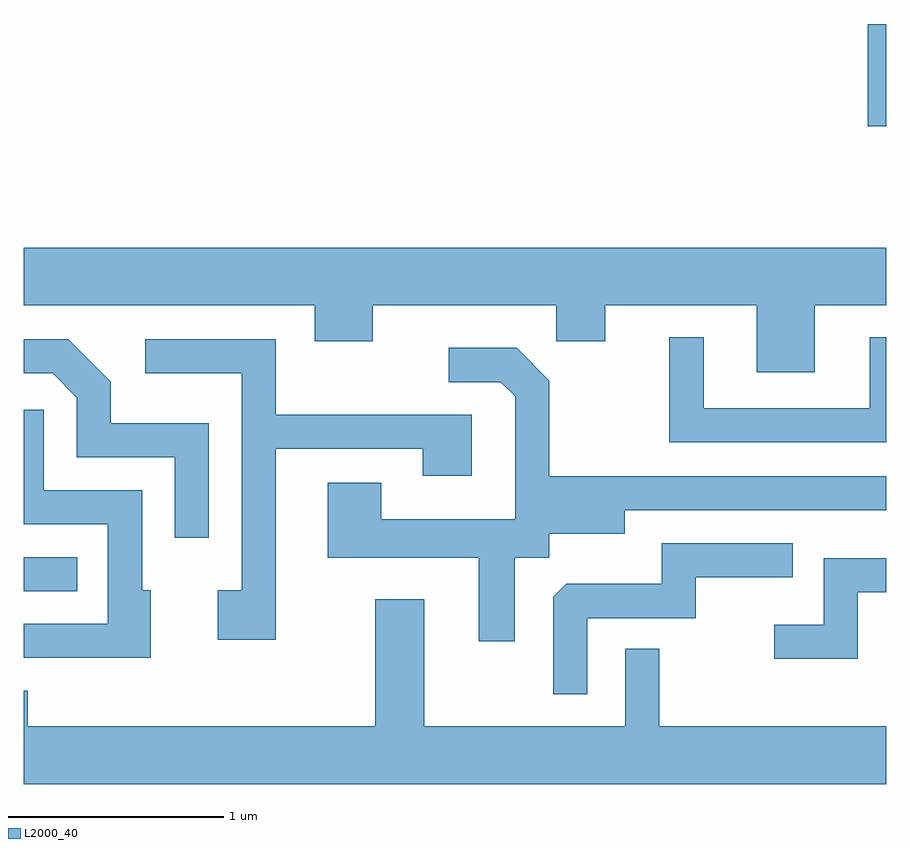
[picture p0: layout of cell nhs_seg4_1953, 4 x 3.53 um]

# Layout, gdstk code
import gdstk
lib = gdstk.Library(unit=1e-6, precision=1e-09)
def R(c, l, rs):  # rectangles x0, y0, x1, y1
    for r in rs: c.add(gdstk.rectangle(r[:2], r[2:], *l))
def P(c, l, *ps):  # polygons
    for p in ps: c.add(gdstk.Polygon(p, *l))
L2000_40 = (2000, 40)

nhs_seg4_1953 = lib.new_cell('nhs_seg4_1953')
R(nhs_seg4_1953, L2000_40, [(241.611,1353.351,241.858,1353.509), (245.526,1355.508,245.611,1355.982)])
P(nhs_seg4_1953, L2000_40, [(241.611,1354.676),(242.961,1354.676),(242.961,1354.511),(243.229,1354.511),(243.229,1354.676),(244.081,1354.676),(244.081,1354.511),(244.309,1354.511),(244.309,1354.676),(245.011,1354.676),(245.011,1354.366),(245.279,1354.366),(245.279,1354.676),(245.611,1354.676),(245.611,1354.944),(241.611,1354.944)],
  [(245.611,1354.528),(245.536,1354.528),(245.536,1354.199),(244.764,1354.199),(244.764,1354.528),(244.606,1354.528),(244.606,1354.041),(245.611,1354.041)],
  [(242.779,1354.011),(243.461,1354.011),(243.461,1353.886),(243.689,1353.886),(243.689,1354.169),(242.779,1354.169),(242.779,1354.519),(242.173,1354.519),(242.173,1354.361),(242.621,1354.361),(242.621,1353.354),(242.511,1353.354),(242.511,1353.126),(242.779,1353.126)],
  [(242.469,1354.129),(242.014,1354.129),(242.014,1354.322),(241.817,1354.519),(241.611,1354.519),(241.611,1354.361),(241.744,1354.361),(241.856,1354.249),(241.856,1353.971),(242.311,1353.971),(242.311,1353.598),(242.469,1353.598)],
  [(243.889,1353.506),(244.049,1353.506),(244.049,1353.616),(244.399,1353.616),(244.399,1353.726),(245.611,1353.726),(245.611,1353.884),(244.049,1353.884),(244.049,1354.327),(243.897,1354.479),(243.583,1354.479),(243.583,1354.321),(243.824,1354.321),(243.891,1354.254),(243.891,1353.684),(243.269,1353.684),(243.269,1353.854),(243.021,1353.854),(243.021,1353.506),(243.721,1353.506),(243.721,1353.118),(243.889,1353.118)],
  [(242.199,1353.354),(242.159,1353.354),(242.159,1353.819),(241.704,1353.819),(241.704,1354.193),(241.611,1354.193),(241.611,1353.661),(242.001,1353.661),(242.001,1353.199),(241.611,1353.199),(241.611,1353.041),(242.199,1353.041)],
  [(244.224,1353.226),(244.729,1353.226),(244.729,1353.416),(245.178,1353.416),(245.178,1353.574),(244.571,1353.574),(244.571,1353.384),(244.127,1353.384),(244.066,1353.324),(244.066,1352.873),(244.224,1352.873)],
  [(245.479,1353.346),(245.611,1353.346),(245.611,1353.504),(245.321,1353.504),(245.321,1353.194),(245.093,1353.194),(245.093,1353.036),(245.479,1353.036)],
  [(245.611,1352.724),(244.559,1352.724),(244.559,1353.083),(244.401,1353.083),(244.401,1352.724),(243.469,1352.724),(243.469,1353.314),(243.241,1353.314),(243.241,1352.724),(241.629,1352.724),(241.629,1352.889),(241.611,1352.889),(241.611,1352.456),(245.611,1352.456)])

lib.write_gds('nhs_seg4_1953.gds')
